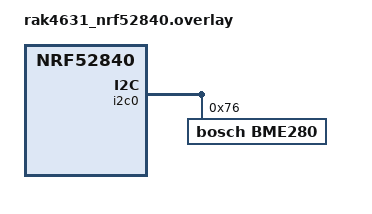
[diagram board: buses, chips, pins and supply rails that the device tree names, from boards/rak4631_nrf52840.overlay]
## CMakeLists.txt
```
cmake_minimum_required(VERSION 3.20.0)

set(CMAKE_EXPORT_COMPILE_COMMANDS ON)

find_package(Zephyr REQUIRED HINTS $ENV{ZEPHYR_BASE})

project(terrascope)

# Extract git commit hash for version info
execute_process(
    COMMAND git rev-parse --short HEAD
    WORKING_DIRECTORY ${CMAKE_SOURCE_DIR}
    OUTPUT_VARIABLE GIT_COMMIT_HASH
    OUTPUT_STRIP_TRAILING_WHITESPACE
    ERROR_QUIET
    RESULT_VARIABLE GIT_RESULT
)
if(NOT GIT_RESULT EQUAL 0)
    set(GIT_COMMIT_HASH "unknown")
endif()

configure_file(
    ${CMAKE_SOURCE_DIR}/src/version.h.in
    ${CMAKE_BINARY_DIR}/generated/version.h
    @ONLY
)

file(GLOB_RECURSE app_sources
    src/*.cpp
    src/*.c
)
# Conditionally compiled sources are excluded from glob and added below
list(FILTER app_sources EXCLUDE REGEX "lora_mock\\.c")
list(FILTER app_sources EXCLUDE REGEX "sensor_bme280\\.c")
list(FILTER app_sources EXCLUDE REGEX "sensor_mock\\.c")

target_sources(app PRIVATE ${app_sources})
target_include_directories(app PRIVATE
    ${CMAKE_BINARY_DIR}/generated
    src/
)

if(CONFIG_LORA_MOCK)
    target_sources(app PRIVATE src/drivers/lora_mock.c)
endif()

# Sensor backend: real BME280 when available in devicetree, mock otherwise
dt_comp_path(bme280_path COMPATIBLE "bosch,bme280")
if(DEFINED bme280_path)
    dt_node_has_status(bme280_okay PATH ${bme280_path} STATUS "okay")
else()
    set(bme280_okay FALSE)
endif()
if(bme280_okay)
    target_sources(app PRIVATE src/sensors/sensor_bme280.c)
else()
    target_sources(app PRIVATE src/sensors/sensor_mock.c)
endif()
```

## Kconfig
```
# Main application Kconfig
mainmenu "Terrascope Configuration"

# Source Zephyr's main Kconfig
source "Kconfig.zephyr"

# Source our custom drivers
rsource "drivers/*/Kconfig*"

menu "Terrascope Network Security"

config TS_NETWORK_KEY
	string "Network authentication key (128-bit hex string)"
	default "681312c55b1aadb66c15df53950b3145"
	help
	  128-bit shared key used for AES-128-CMAC message authentication.
	  Specify as a 32-character hex string (16 bytes).

	  All nodes in a deployment must be provisioned with the same key.
	  The default value is for development only and must be changed
	  before deploying to production hardware.

	  For production builds, use platform-specific secure key storage
	  instead (see SECURITY.md).

config TS_KEY_ID
	int "Active network key identifier (0-255)"
	default 0
	range 0 255
	help
	  Identifies which network key version this node uses.
	  Nodes reject messages whose key_id does not match their own.
	  Increment when rotating the network key so that nodes on
	  different key versions do not silently accept each other's
	  packets. Key updates are performed out-of-band (reflash or
	  future provisioning command).

endmenu
```

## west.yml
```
manifest:
  remotes:
    - name: zephyrproject-rtos
      url-base: https://github.com/zephyrproject-rtos

  projects:
    - name: zephyr
      remote: zephyrproject-rtos
      revision: main
      import: true

  self:
    path: terrascope
```

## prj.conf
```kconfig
CONFIG_LORA=y

CONFIG_LOG=y
CONFIG_LOG_PRINTK=y
CONFIG_LOG_DEFAULT_LEVEL=4

CONFIG_MULTITHREADING=y

CONFIG_ZBUS=y
CONFIG_ZBUS_CHANNEL_NAME=y
CONFIG_ZBUS_OBSERVER_NAME=y
CONFIG_ZBUS_RUNTIME_OBSERVERS=y

CONFIG_BOOT_BANNER=n
CONFIG_MAIN_THREAD_PRIORITY=5

CONFIG_ENTROPY_GENERATOR=y

CONFIG_ZCBOR=y

CONFIG_MBEDTLS=y
CONFIG_MBEDTLS_PSA_CRYPTO_C=y
CONFIG_PSA_WANT_ALG_CMAC=y
CONFIG_PSA_WANT_KEY_TYPE_AES=y

CONFIG_FLASH=y
CONFIG_FLASH_MAP=y
CONFIG_FLASH_PAGE_LAYOUT=y
CONFIG_NVS=y
CONFIG_SETTINGS=y
CONFIG_SETTINGS_NVS=y
```

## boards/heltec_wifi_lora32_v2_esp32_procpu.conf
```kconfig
CONFIG_ESP32_USE_UNSUPPORTED_REVISION=y

# Flash for NVS-backed config persistence (ESP32 internal flash)
CONFIG_FLASH=y
CONFIG_FLASH_MAP=y
CONFIG_FLASH_PAGE_LAYOUT=y
```

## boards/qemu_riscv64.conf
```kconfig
# Enable LoRa mock driver
CONFIG_LORA_MOCK=y

CONFIG_TEST_RANDOM_GENERATOR=y

# https://github.com/zephyrproject-rtos/zephyr/issues/67073
CONFIG_QEMU_ICOUNT=n

# Flash simulator for NVS-backed config persistence
CONFIG_FLASH_SIMULATOR=y
CONFIG_FLASH_SIMULATOR_DOUBLE_WRITES=y
```

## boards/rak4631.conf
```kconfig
CONFIG_ENTROPY_GENERATOR=y
CONFIG_ENTROPY_DEVICE_RANDOM_GENERATOR=y

# I2C and sensor subsystem for BME280
CONFIG_I2C=y
CONFIG_SENSOR=y

# Flash for NVS-backed config persistence (nRF52840 internal flash)
CONFIG_FLASH=y
CONFIG_FLASH_MAP=y
CONFIG_FLASH_PAGE_LAYOUT=y
```

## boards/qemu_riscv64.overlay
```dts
/ {
    aliases {
        lora0 = &lora_mock;
    };

    lora_mock: lora-mock {
        compatible = "zephyr,lora-mock";
        status = "okay";
    };

    sim_flash_controller: sim_flash_controller {
        compatible = "zephyr,sim-flash";

        #address-cells = <1>;
        #size-cells = <1>;
        erase-value = <0xff>;

        flash_sim0: flash_sim@0 {
            compatible = "soc-nv-flash";
            reg = <0x00000000 0x10000>;

            erase-block-size = <4096>;
            write-block-size = <1>;

            partitions {
                compatible = "fixed-partitions";
                #address-cells = <1>;
                #size-cells = <1>;

                storage_partition: partition@0 {
                    label = "storage";
                    reg = <0x00000000 0x10000>;
                };
            };
        };
    };

    chosen {
        zephyr,settings-partition = &storage_partition;
    };
};
```

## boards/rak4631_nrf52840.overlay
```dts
&i2c0 {
    bme280: bme280@76 {
        compatible = "bosch,bme280";
        reg = <0x76>;
    };
};
```

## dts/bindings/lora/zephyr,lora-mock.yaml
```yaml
description: Mock LoRa driver for simulation

compatible: "zephyr,lora-mock"

include: base.yaml
```

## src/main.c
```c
#include <zephyr/drivers/lora.h>
#include <zephyr/kernel.h>
#include <zephyr/logging/log.h>
#include <zephyr/zbus/zbus.h>

#include "config/config.h"
#include "logging/logging.h"
#include "lora/auth.h"
#include "messages/messages.h"
#include "routing/routing.h"
#include "routing/routing_table.h"
#include "sensors/sensor_manager.h"
#include "version.h"
LOG_MODULE_REGISTER(terrascope);

#define ZBUS_SEND_TIMEOUT K_MSEC(200)

ZBUS_CHAN_DEFINE(ts_lora_out_chan, struct ts_msg_lora_outgoing, NULL, NULL,
                 ZBUS_OBSERVERS(ts_lora_out_sub), ZBUS_MSG_INIT(0));

// No observers yet — mesh routing and gateway modules will subscribe later
ZBUS_CHAN_DEFINE(ts_lora_in_chan, struct ts_msg_lora_incoming, NULL, NULL,
                 ZBUS_OBSERVERS_EMPTY, ZBUS_MSG_INIT(0));

// Set up periodic sensor readings using a timer and submit the work to the
// system workqueue
K_WORK_DEFINE(sensor_take_reading, sensor_take_reading_wrapper);
void sensor_periodic_timer_handler(struct k_timer* dummy) {
    k_work_submit(&sensor_take_reading);
}
K_TIMER_DEFINE(sensor_periodic_timer, sensor_periodic_timer_handler, NULL);

// Periodic routing table aging
static void routing_table_age_handler(struct k_work* work) {
    ts_routing_table_age_seconds(
        ts_config_get()->routing_table_stale_timeout_s);
}
K_WORK_DEFINE(routing_table_age_work, routing_table_age_handler);
static void routing_table_age_timer_handler(struct k_timer* dummy) {
    k_work_submit(&routing_table_age_work);
}
K_TIMER_DEFINE(routing_table_age_timer, routing_table_age_timer_handler, NULL);

int main() {
    LOG_INF("Terrascope v%s (%s %s) started", FIRMWARE_VERSION_STRING,
            BUILD_TIMESTAMP, GIT_COMMIT_HASH);

    int auth_ret = ts_auth_init();
    if (auth_ret != 0) {
        LOG_ERR("Failed to initialize auth module: %d", auth_ret);
        return auth_ret;
    }

    int cfg_ret = ts_config_init();
    if (cfg_ret != 0) {
        LOG_ERR("Failed to initialize config module: %d", cfg_ret);
        return cfg_ret;
    }

    ts_routing_init(ts_config_get()->node_id);
    ts_routing_table_init();
    LOG_INF("Node ID: 0x%04x", ts_routing_get_node_id());

    const struct ts_config* cfg = ts_config_get();
    k_timer_start(&sensor_periodic_timer, K_SECONDS(1),
                  K_SECONDS(cfg->sensor_interval_s));
    k_timer_start(&routing_table_age_timer,
                  K_SECONDS(cfg->routing_table_age_interval_s),
                  K_SECONDS(cfg->routing_table_age_interval_s));

    while (true) {
        k_sleep(K_SECONDS(cfg->heartbeat_interval_s));
        uint32_t now = (uint32_t)k_uptime_seconds();
        struct ts_msg_lora_outgoing out_msg = {
            .type = TS_MSG_NODE_STATUS,
            .data.node_status = {.timestamp = now, .uptime = now, .status = OK},
        };
        ts_routing_prepare_header(&out_msg.route, TS_ROUTING_BROADCAST_ADDR);
        LOG_DBG("Notifying mesh of node status: uptime=%d, status=%d",
                out_msg.data.node_status.uptime,
                out_msg.data.node_status.status);

        int ret = zbus_chan_pub(&ts_lora_out_chan, &out_msg, ZBUS_SEND_TIMEOUT);
        log_chan_pub_ret(ret);
    }

    return 0;
}
```

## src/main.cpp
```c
#include <zephyr/drivers/lora.h>
#include <zephyr/kernel.h>
#include <zephyr/logging/log.h>
#include <zephyr/random/random.h>
#include <zephyr/zbus/zbus.h>
#include "lora/LoraDevice.h"

#define DEFAULT_RADIO_NODE DT_ALIAS(lora0)

LOG_MODULE_DECLARE(zbus, CONFIG_ZBUS_LOG_LEVEL);

#define PRODUCER_DELAY K_MSEC(500)
#define CONSUMER_START_DELAY_MS 3000

struct ts_msg_telemetry {
    uint32_t timestamp;
    uint16_t temperature;
    uint16_t humidity;
    uint16_t pressure;
};

ZBUS_CHAN_DEFINE(telemetry_chan, struct ts_msg_telemetry, NULL, NULL,
                 ZBUS_OBSERVERS(tm_msg_sub_01),
                 ZBUS_MSG_INIT(.timestamp = 0, .temperature = 0, .humidity = 0,
                               .pressure = 0));

void log_telemetry(struct ts_msg_telemetry* pkt, const char* prefix) {
    LOG_INF("%s Telemetry: ts=%u, temp=%d.%02d°C, humidity=%d.%02d%%", prefix,
            pkt->timestamp, pkt->temperature / 100, pkt->temperature % 100,
            pkt->humidity / 100, pkt->humidity % 100);
}

void producer_thread(void) {
    LOG_INF("Producer thread started");
    struct ts_msg_telemetry msg;

    while (1) {
        msg.timestamp = sys_rand32_get();
        msg.temperature = sys_rand32_get() % 5000;
        msg.humidity = sys_rand32_get() % 10000;
        zbus_chan_pub(&telemetry_chan, &msg, K_MSEC(200));
        log_telemetry(&msg, "[PUBLISH] ");
        k_sleep(PRODUCER_DELAY);
    };
}

ZBUS_SUBSCRIBER_DEFINE(tm_msg_sub_01, 10);
void consumer_thread(void) {
    LOG_INF("Consumer thread started");
    const struct zbus_channel* chan;
    struct ts_msg_telemetry msg;

    while (!zbus_sub_wait(&tm_msg_sub_01, &chan, K_FOREVER)) {
        if (&telemetry_chan == chan) {
            zbus_chan_read(&telemetry_chan, &msg, K_MSEC(500));
            log_telemetry(&msg, "[CONSUMER] ");
        }
    }
}

// Define threads with appropriate priorities and stack sizes
K_THREAD_DEFINE(producer_tid, 1024, producer_thread, NULL, NULL, NULL, 5, 0, 0);
K_THREAD_DEFINE(consumer_tid, 1024, consumer_thread, NULL, NULL, NULL, 6, 0,
                CONSUMER_START_DELAY_MS);

int main() {
    LOG_INF("Zbus multi-threaded example started");
    LOG_INF(
        "Producer will start immediately, Consumer will start after 3 seconds");

    while (1) {
        k_sleep(K_SECONDS(5));
        LOG_INF("Main thread heartbeat");
    }

    return 0;
}
```
